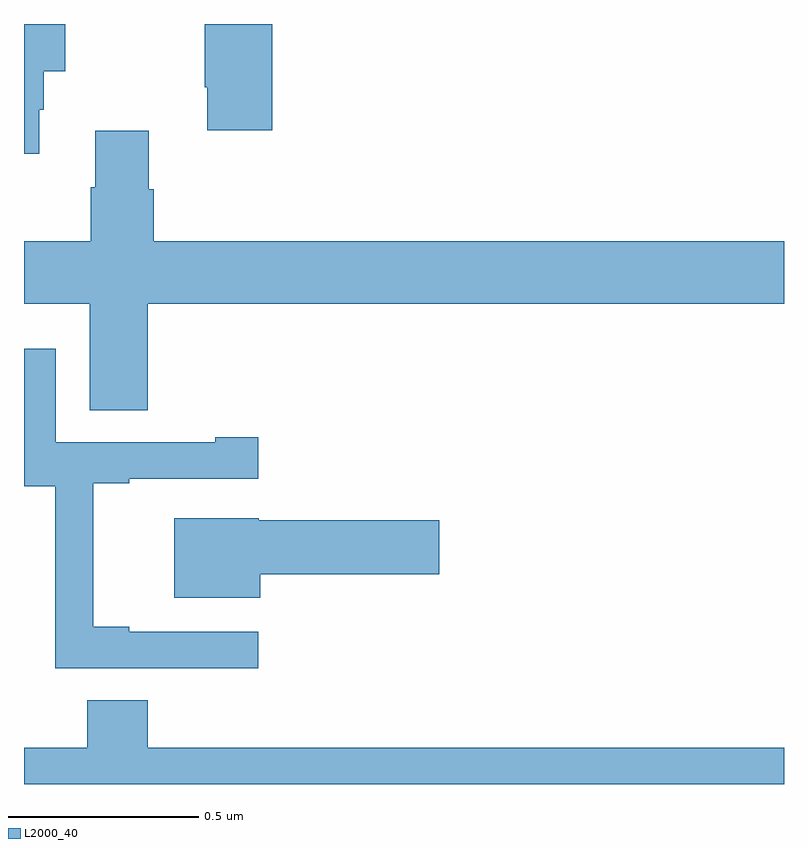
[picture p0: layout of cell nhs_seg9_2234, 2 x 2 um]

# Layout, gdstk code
import gdstk
lib = gdstk.Library(unit=1e-6, precision=1e-09)
def P(c, l, *ps):  # polygons
    for p in ps: c.add(gdstk.Polygon(p, *l))
L2000_40 = (2000, 40)

nhs_seg9_2234 = lib.new_cell('nhs_seg9_2234')
P(nhs_seg9_2234, L2000_40, [(138.653,1186.5),(138.475,1186.5),(138.475,1186.333),(138.482,1186.333),(138.482,1186.221),(138.653,1186.221)],
  [(138.04,1186.275),(138.052,1186.275),(138.052,1186.376),(138.108,1186.376),(138.108,1186.5),(138,1186.5),(138,1186.158),(138.04,1186.158)],
  [(138.326,1185.764),(140,1185.764),(140,1185.928),(138.341,1185.928),(138.341,1186.065),(138.328,1186.065),(138.328,1186.219),(138.188,1186.219),(138.188,1186.07),(138.176,1186.07),(138.176,1185.928),(138,1185.928),(138,1185.764),(138.173,1185.764),(138.173,1185.484),(138.326,1185.484)],
  [(138.616,1184.901),(138.277,1184.901),(138.277,1184.914),(138.182,1184.914),(138.182,1185.291),(138.277,1185.291),(138.277,1185.303),(138.616,1185.303),(138.616,1185.412),(138.503,1185.412),(138.503,1185.399),(138.084,1185.399),(138.084,1185.645),(138,1185.645),(138,1185.283),(138.082,1185.283),(138.082,1184.805),(138.616,1184.805)],
  [(138.622,1185.052),(139.093,1185.052),(139.093,1185.194),(138.618,1185.194),(138.618,1185.199),(138.395,1185.199),(138.395,1184.99),(138.622,1184.99)],
  [(140,1184.596),(138.326,1184.596),(138.326,1184.72),(138.166,1184.72),(138.166,1184.596),(138,1184.596),(138,1184.5),(140,1184.5)])

lib.write_gds('nhs_seg9_2234.gds')
